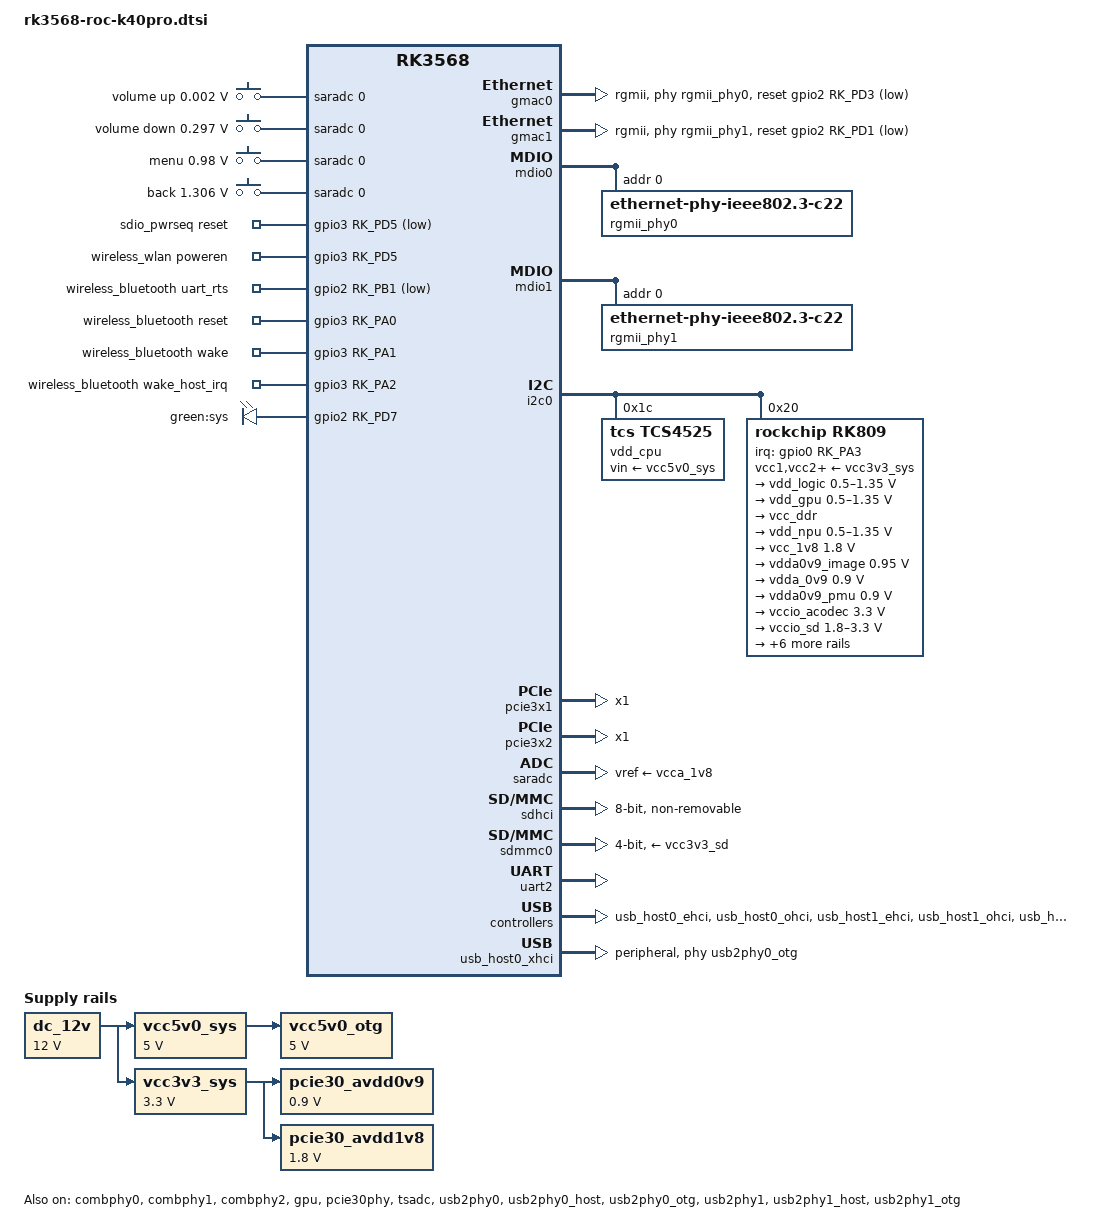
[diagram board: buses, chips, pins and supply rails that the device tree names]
// SPDX-License-Identifier: GPL-2.0-or-later OR MIT
/*
 * Copyright (c) 2020 Rockchip Electronics Co., Ltd.
 *
 */

/dts-v1/;
#include <dt-bindings/gpio/gpio.h>
#include <dt-bindings/input/input.h>
#include <dt-bindings/leds/common.h>
#include <dt-bindings/pinctrl/rockchip.h>
#include <dt-bindings/soc/rockchip,vop2.h>
#include <rockchip/rk3568.dtsi>

/ {
	eth_order =  "fe010000.ethernet,fe2a0000.ethernet";

	aliases {
		mmc0 = &sdmmc0;
		mmc1 = &sdhci;

		ethernet0 = &gmac0;
		ethernet1 = &gmac1;

		led-boot 	 = &led_green;
		led-failsafe = &led_green;
		led-running  = &led_green;
		led-upgrade  = &led_green;
	};

	chosen: chosen {
		stdout-path = "serial2:1500000n8";
	};

	adc_keys: adc-keys {
		compatible = "adc-keys";
		io-channels = <&saradc 0>;
		io-channel-names = "buttons";
		keyup-threshold-microvolt = <1800000>;
		poll-interval = <100>;

		vol-up-key {
			label = "volume up";
			linux,code = <KEY_VOLUMEUP>;
			press-threshold-microvolt = <1750>;
		};

		vol-down-key {
			label = "volume down";
			linux,code = <KEY_VOLUMEDOWN>;
			press-threshold-microvolt = <297500>;
		};

		menu-key {
			label = "menu";
			linux,code = <KEY_MENU>;
			press-threshold-microvolt = <980000>;
		};

		back-key {
			label = "back";
			linux,code = <KEY_BACK>;
			press-threshold-microvolt = <1305500>;
		};
	};


	dc_12v: dc-12v {
		compatible = "regulator-fixed";
		regulator-name = "dc_12v";
		regulator-always-on;
		regulator-boot-on;
		regulator-min-microvolt = <12000000>;
		regulator-max-microvolt = <12000000>;
	};

	vcc5v0_sys: vcc5v0-sys {
		compatible = "regulator-fixed";
		regulator-name = "vcc5v0_sys";
		regulator-always-on;
		regulator-boot-on;
		regulator-min-microvolt = <5000000>;
		regulator-max-microvolt = <5000000>;
		vin-supply = <&dc_12v>;
	};

	vcc3v3_sys: vcc3v3-sys {
		compatible = "regulator-fixed";
		regulator-name = "vcc3v3_sys";
		regulator-always-on;
		regulator-boot-on;
		regulator-min-microvolt = <3300000>;
		regulator-max-microvolt = <3300000>;
		vin-supply = <&dc_12v>;
	};

	vcc5v0_otg: vcc5v0-otg-regulator {
		compatible = "regulator-fixed";
		regulator-name = "vcc5v0_otg";
		regulator-always-on;
		regulator-boot-on;
		regulator-min-microvolt = <5000000>;
		regulator-max-microvolt = <5000000>;
		vin-supply = <&vcc5v0_sys>;
	};

	pcie30_avdd0v9: pcie30-avdd0v9 {
		compatible = "regulator-fixed";
		regulator-name = "pcie30_avdd0v9";
		regulator-always-on;
		regulator-boot-on;
		regulator-min-microvolt = <900000>;
		regulator-max-microvolt = <900000>;
		vin-supply = <&vcc3v3_sys>;
	};

	pcie30_avdd1v8: pcie30-avdd1v8 {
		compatible = "regulator-fixed";
		regulator-name = "pcie30_avdd1v8";
		regulator-always-on;
		regulator-boot-on;
		regulator-min-microvolt = <1800000>;
		regulator-max-microvolt = <1800000>;
		vin-supply = <&vcc3v3_sys>;
	};

	sdio_pwrseq: sdio-pwrseq {
		compatible = "mmc-pwrseq-simple";
		clocks = <&rk809 1>;
		clock-names = "ext_clock";
		pinctrl-names = "default";
		pinctrl-0 = <&wifi_enable_h>;

		/*
		* On the module itself this is one of these (depending
		* on the actual card populated):
		* - SDIO_RESET_L_WL_REG_ON
		* - PDN (power down when low)
		*/
		post-power-on-delay-ms = <200>;
		reset-gpios = <&gpio3 RK_PD5 GPIO_ACTIVE_LOW>;
	};

	wireless_wlan: wireless-wlan {
		compatible = "wlan-platdata";
		rockchip,grf = <&grf>;
		wifi_chip_type = "ap6398s";
		WIFI,poweren_gpio = <&gpio3 RK_PD5 GPIO_ACTIVE_HIGH>;
		status = "okay";
	};

	wireless_bluetooth: wireless-bluetooth {
		compatible = "bluetooth-platdata";
		clocks = <&rk809 1>;
		clock-names = "ext_clock";
		//wifi-bt-power-toggle;
		uart_rts_gpios = <&gpio2 RK_PB1 GPIO_ACTIVE_LOW>;
		pinctrl-names = "default", "rts_gpio";
		pinctrl-0 = <&uart8m0_rtsn>;
		pinctrl-1 = <&uart8_gpios>;
		BT,reset_gpio    = <&gpio3 RK_PA0 GPIO_ACTIVE_HIGH>;
		BT,wake_gpio     = <&gpio3 RK_PA1 GPIO_ACTIVE_HIGH>;
		BT,wake_host_irq = <&gpio3 RK_PA2 GPIO_ACTIVE_HIGH>;
		status = "okay";
	};

	leds {
		compatible = "gpio-leds";
		pinctrl-names = "default";
		pinctrl-0 = <&led_green_en>;

		led_green: green {
			gpios = <&gpio2 RK_PD7 GPIO_ACTIVE_HIGH>;
			label = "green:sys";
			linux,default-trigger = "timer";
		};
		
	};

};

&gmac0 {
	phy-mode = "rgmii";
	clock_in_out = "input";

	snps,reset-gpio = <&gpio2 RK_PD3 GPIO_ACTIVE_LOW>;
	snps,reset-active-low;
	/* Reset time is 15ms, 50ms for rtl8211f */
	snps,reset-delays-us = <0 15000 50000>;

	assigned-clocks = <&cru SCLK_GMAC0_RX_TX>, <&cru SCLK_GMAC0>;
	assigned-clock-parents = <&cru SCLK_GMAC0_RGMII_SPEED>;
	assigned-clock-rates = <0>, <125000000>;
	phy-handle = <&rgmii_phy0>;
	pinctrl-names = "default";
	pinctrl-0 = <&gmac0_miim
		     &gmac0_tx_bus2
		     &gmac0_rx_bus2
		     &gmac0_rgmii_clk
		     &gmac0_rgmii_bus>;

	tx_delay = <0x3c>;
	rx_delay = <0x2f>;

	status = "okay";
};

&gmac1 {
	phy-mode = "rgmii";
	clock_in_out = "input";

	snps,reset-gpio = <&gpio2 RK_PD1 GPIO_ACTIVE_LOW>;
	snps,reset-active-low;
	/* Reset time is 15ms, 50ms for rtl8211f */
	snps,reset-delays-us = <0 15000 50000>;

	assigned-clocks = <&cru SCLK_GMAC1_RX_TX>, <&cru SCLK_GMAC1>;
	assigned-clock-parents = <&cru SCLK_GMAC1_RGMII_SPEED>;
	assigned-clock-rates = <0>, <125000000>;
	phy-handle = <&rgmii_phy1>;
	pinctrl-names = "default";
	pinctrl-0 = <&gmac1m1_miim
		     &gmac1m1_tx_bus2
		     &gmac1m1_rx_bus2
		     &gmac1m1_rgmii_clk
		     &gmac1m1_rgmii_bus>;

	tx_delay = <0x4f>;
	rx_delay = <0x26>;

	status = "okay";
};

&mdio0 {
	rgmii_phy0: ethernet-phy@1 {
		compatible = "ethernet-phy-ieee802.3-c22";
		reg = <0x0>;
		pinctrl-0 = <&eth_phy0_reset_pin>;
		pinctrl-names = "default";
		realtek,led-data = <0xAC10>;
	};
};

&mdio1 {
	rgmii_phy1: ethernet-phy@1 {
		compatible = "ethernet-phy-ieee802.3-c22";
		reg = <0x0>;
		pinctrl-0 = <&eth_phy1_reset_pin>;
		pinctrl-names = "default";
		realtek,led-data = <0xAC10>;
	};
};

&combphy0 {
	rockchip,dis-u3otg0-port; /* disable USB3.0 */
	status = "okay";
};

&combphy1 {
	status = "okay";
};

&combphy2 {
	status = "okay";
};

&cpu0 {
	cpu-supply = <&vdd_cpu>;
};

&cpu1 {
	cpu-supply = <&vdd_cpu>;
};

&cpu2 {
	cpu-supply = <&vdd_cpu>;
};

&cpu3 {
	cpu-supply = <&vdd_cpu>;
};

&gpu {
	power-off-delay-ms = <200>;
	mali-supply = <&vdd_gpu>;
	status = "okay";
};

&i2c0 {
	status = "okay";

	vdd_cpu: regulator@1c {
		compatible = "tcs,tcs4525";
		reg = <0x1c>;
		fcs,suspend-voltage-selector = <1>;
		regulator-name = "vdd_cpu";
		regulator-always-on;
		regulator-boot-on;
		regulator-min-microvolt = <800000>;
		regulator-max-microvolt = <1150000>;
		regulator-ramp-delay = <2300>;
		vin-supply = <&vcc5v0_sys>;

		regulator-state-mem {
			regulator-off-in-suspend;
		};
	};

	rk809: pmic@20 {
		compatible = "rockchip,rk809";
		reg = <0x20>;
		interrupt-parent = <&gpio0>;
		interrupts = <RK_PA3 IRQ_TYPE_LEVEL_LOW>;
		#clock-cells = <1>;
		pinctrl-names = "default";
		pinctrl-0 = <&pmic_int>;
		rockchip,system-power-controller;
		vcc1-supply = <&vcc3v3_sys>;
		vcc2-supply = <&vcc3v3_sys>;
		vcc3-supply = <&vcc3v3_sys>;
		vcc4-supply = <&vcc3v3_sys>;
		vcc5-supply = <&vcc3v3_sys>;
		vcc6-supply = <&vcc3v3_sys>;
		vcc7-supply = <&vcc3v3_sys>;
		vcc8-supply = <&vcc3v3_sys>;
		vcc9-supply = <&vcc3v3_sys>;
		wakeup-source;

		regulators {
			vdd_logic: DCDC_REG1 {
				regulator-name = "vdd_logic";
				regulator-always-on;
				regulator-boot-on;
				regulator-initial-mode = <0x2>;
				regulator-min-microvolt = <500000>;
				regulator-max-microvolt = <1350000>;
				regulator-ramp-delay = <6001>;

				regulator-state-mem {
					regulator-off-in-suspend;
				};
			};

			vdd_gpu: DCDC_REG2 {
				regulator-name = "vdd_gpu";
				regulator-always-on;
				regulator-initial-mode = <0x2>;
				regulator-min-microvolt = <500000>;
				regulator-max-microvolt = <1350000>;
				regulator-ramp-delay = <6001>;

				regulator-state-mem {
					regulator-off-in-suspend;
				};
			};

			vcc_ddr: DCDC_REG3 {
				regulator-name = "vcc_ddr";
				regulator-always-on;
				regulator-boot-on;
				regulator-initial-mode = <0x2>;

				regulator-state-mem {
					regulator-on-in-suspend;
				};
			};

			vdd_npu: DCDC_REG4 {
				regulator-name = "vdd_npu";
				regulator-initial-mode = <0x2>;
				regulator-min-microvolt = <500000>;
				regulator-max-microvolt = <1350000>;
				regulator-ramp-delay = <6001>;

				regulator-state-mem {
					regulator-off-in-suspend;
				};
			};

			vcc_1v8: DCDC_REG5 {
				regulator-name = "vcc_1v8";
				regulator-always-on;
				regulator-boot-on;
				regulator-min-microvolt = <1800000>;
				regulator-max-microvolt = <1800000>;

				regulator-state-mem {
					regulator-off-in-suspend;
				};
			};

			vdda0v9_image: LDO_REG1 {
				regulator-name = "vdda0v9_image";
				regulator-min-microvolt = <950000>;
				regulator-max-microvolt = <950000>;

				regulator-state-mem {
					regulator-off-in-suspend;
				};
			};

			vdda_0v9: LDO_REG2 {
				regulator-name = "vdda_0v9";
				regulator-always-on;
				regulator-boot-on;
				regulator-min-microvolt = <900000>;
				regulator-max-microvolt = <900000>;

				regulator-state-mem {
					regulator-off-in-suspend;
				};
			};

			vdda0v9_pmu: LDO_REG3 {
				regulator-name = "vdda0v9_pmu";
				regulator-always-on;
				regulator-boot-on;
				regulator-min-microvolt = <900000>;
				regulator-max-microvolt = <900000>;

				regulator-state-mem {
					regulator-on-in-suspend;
					regulator-suspend-microvolt = <900000>;
				};
			};

			vccio_acodec: LDO_REG4 {
				regulator-name = "vccio_acodec";
				regulator-min-microvolt = <3300000>;
				regulator-max-microvolt = <3300000>;

				regulator-state-mem {
					regulator-off-in-suspend;
				};
			};

			vccio_sd: LDO_REG5 {
				regulator-name = "vccio_sd";
				regulator-min-microvolt = <1800000>;
				regulator-max-microvolt = <3300000>;

				regulator-state-mem {
					regulator-off-in-suspend;
				};
			};

			vcc3v3_pmu: LDO_REG6 {
				regulator-name = "vcc3v3_pmu";
				regulator-always-on;
				regulator-boot-on;
				regulator-min-microvolt = <3300000>;
				regulator-max-microvolt = <3300000>;

				regulator-state-mem {
					regulator-on-in-suspend;
					regulator-suspend-microvolt = <3300000>;
				};
			};

			vcca_1v8: LDO_REG7 {
				regulator-name = "vcca_1v8";
				regulator-always-on;
				regulator-boot-on;
				regulator-min-microvolt = <1800000>;
				regulator-max-microvolt = <1800000>;

				regulator-state-mem {
					regulator-off-in-suspend;
				};
			};

			vcca1v8_pmu: LDO_REG8 {
				regulator-name = "vcca1v8_pmu";
				regulator-always-on;
				regulator-boot-on;
				regulator-min-microvolt = <1800000>;
				regulator-max-microvolt = <1800000>;

				regulator-state-mem {
					regulator-on-in-suspend;
					regulator-suspend-microvolt = <1800000>;
				};
			};

			vcca1v8_image: LDO_REG9 {
				regulator-name = "vcca1v8_image";
				regulator-min-microvolt = <1800000>;
				regulator-max-microvolt = <1800000>;

				regulator-state-mem {
					regulator-off-in-suspend;
				};
			};

			vcc_3v3: SWITCH_REG1 {
				regulator-name = "vcc_3v3";
				regulator-always-on;
				regulator-boot-on;

				regulator-state-mem {
					regulator-off-in-suspend;
				};
			};

			vcc3v3_sd: SWITCH_REG2 {
				regulator-name = "vcc3v3_sd";
				regulator-always-on;
				regulator-boot-on;

				regulator-state-mem {
					regulator-off-in-suspend;
				};
			};
		};

	};
};

&pcie30phy {
	data-lanes = <1 2>;
	status = "okay";
};

&pcie3x1 {
	num-lanes = <1>;
	status = "okay";
};

&pcie3x2 {
	num-lanes = <1>;
	status = "okay";
};

&pinctrl {
	gmac0 {
		eth_phy0_reset_pin: eth-phy0-reset-pin {
			rockchip,pins = <2 RK_PD3 RK_FUNC_GPIO &pcfg_pull_up>;
		};
	};

	gmac1 {
		eth_phy1_reset_pin: eth-phy1-reset-pin {
			rockchip,pins = <2 RK_PD1 RK_FUNC_GPIO &pcfg_pull_up>;
		};
	};

	leds {
		led_green_en: led-green-en {
			rockchip,pins =
				<2 RK_PD7 RK_FUNC_GPIO &pcfg_pull_none>;
		};
	};
	pmic {
		pmic_int: pmic-int {
			rockchip,pins = <0 RK_PA3 RK_FUNC_GPIO &pcfg_pull_up>;
		};
	};


	wireless-wlan {
		wifi_host_wake_irq: wifi-host-wake-irq {
			rockchip,pins = <3 RK_PD4 RK_FUNC_GPIO &pcfg_pull_down>;
		};
	};

	sdio-pwrseq {
		wifi_enable_h: wifi-enable-h {
			rockchip,pins = <3 RK_PD5 RK_FUNC_GPIO &pcfg_pull_none>;
		};
	};
	wireless-bluetooth {
		uart8_gpios: uart8-gpios {
			rockchip,pins = <2 RK_PB1 RK_FUNC_GPIO &pcfg_pull_none>;
		};
	};

};

&pmu_io_domains {
	pmuio1-supply = <&vcc3v3_pmu>;
	pmuio2-supply = <&vcc3v3_pmu>;
	vccio1-supply = <&vccio_acodec>;
	vccio3-supply = <&vccio_sd>;
	vccio4-supply = <&vcc_1v8>;
	vccio5-supply = <&vcc_3v3>;
	vccio6-supply = <&vcc_1v8>;
	vccio7-supply = <&vcc_3v3>;
	status = "okay";
};

&saradc {
	vref-supply = <&vcca_1v8>;
	status = "okay";
};

&sdhci {
	bus-width = <8>;
	max-frequency = <200000000>;
	non-removable;
	pinctrl-names = "default";
	pinctrl-0 = <&emmc_bus8 &emmc_clk &emmc_cmd>;
	status = "okay";
};

&sdmmc0 {
	max-frequency = <150000000>;
	no-sdio;
	no-mmc;
	bus-width = <4>;
	cap-mmc-highspeed;
	cap-sd-highspeed;
	disable-wp;
	vmmc-supply = <&vcc3v3_sd>;
	vqmmc-supply = <&vccio_sd>;
	pinctrl-names = "default";
	pinctrl-0 = <&sdmmc0_bus4 &sdmmc0_clk &sdmmc0_cmd &sdmmc0_det>;
	status = "okay";
};

&tsadc {
	rockchip,hw-tshut-mode = <1>;
	rockchip,hw-tshut-polarity = <0>;
	status = "okay";
};

&uart2 {
	status = "okay";
};

&usb_host0_ehci {
	status = "okay";
};

&usb_host0_ohci {
	status = "okay";
};

/* MULTI_PHY0 For SATA0, USB3.0 OTG Only USB2.0 */
&usb_host0_xhci {
	phys = <&usb2phy0_otg>;
	phy-names = "usb2-phy";
	extcon = <&usb2phy0>;
	maximum-speed = "high-speed";
	dr_mode = "peripheral";
	status = "okay";
};

&usb_host1_ehci {
	status = "okay";
};

&usb_host1_ohci {
	status = "okay";
};

&usb_host1_xhci {
	status = "okay";
};

&usb2phy0 {
	status = "okay";
};

&usb2phy0_host {
	phy-supply = <&vcc5v0_otg>;
	status = "okay";
};

&usb2phy0_otg {
	phy-supply = <&vcc5v0_otg>;
	status = "okay";
};

&usb2phy1 {
	status = "okay";
};

&usb2phy1_host {
	phy-supply = <&vcc5v0_otg>;
	status = "okay";
};

&usb2phy1_otg {
	phy-supply = <&vcc5v0_otg>;
	status = "okay";
};
